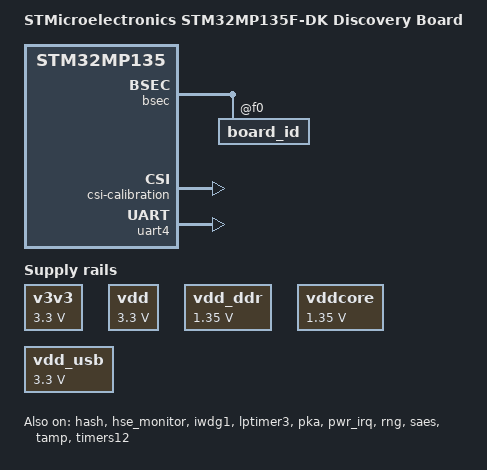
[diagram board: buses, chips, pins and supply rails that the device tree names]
// SPDX-License-Identifier: (GPL-2.0+ OR BSD-3-Clause)
/*
 * Copyright (C) STMicroelectronics 2021-2023 - All Rights Reserved
 * Author: Alexandre Torgue <alexandre.torgue@foss.st.com> for STMicroelectronics.
 */

/dts-v1/;

#include <dt-bindings/clock/stm32mp13-clksrc.h>
#include <dt-bindings/gpio/gpio.h>
#include <dt-bindings/gpio/stm32mp_gpio.h>
#include <dt-bindings/mfd/st,stpmic1.h>
#include <dt-bindings/power/stm32mp1-power.h>
#include <dt-bindings/regulator/st,stm32mp13-regulator.h>
#include <dt-bindings/soc/stm32mp-provisioning.h>
#include <dt-bindings/soc/stm32mp-tzc400-macro.h>
#include <dt-bindings/soc/stm32mp13-tzc400.h>
#include <dt-bindings/tamper/st,stm32mp13-tamp.h>
#include "stm32mp135.dtsi"
#include "stm32mp13xf.dtsi"
#include "myb-stm32mp13-pinctrl.dtsi"

/ {
	model = "STMicroelectronics STM32MP135F-DK Discovery Board";
	compatible = "st,stm32mp135f-dk", "st,stm32mp135";

	cpu0-opp-table {
                opp-1000000000 {
                        opp-hz = /bits/ 64 <1000000000>;
                        opp-microvolt = <1350000>;
                        opp-supported-hw = <0x2>;
                        st,opp-default;
                };
		/delete-node/ opp-650000000;
    };

	aliases {
		serial0 = &uart4;
		// serial1 = &usart1;
	};

	chosen {
		stdout-path = "serial0:115200n8";
	};

	v3v3: v3v3 {
		compatible = "regulator-fixed";
		regulator-name = "v3v3";
		regulator-min-microvolt = <3300000>;
		regulator-max-microvolt = <3300000>;
		regulator-always-on;
	};

	vdd: vdd {
		compatible = "regulator-fixed";
		regulator-name = "vdd";
		regulator-min-microvolt = <3300000>;
		regulator-max-microvolt = <3300000>;
	};

	vdd_ddr: vdd_ddr {
		compatible = "regulator-fixed";
		regulator-name = "vdd_ddr";
		regulator-min-microvolt = <1350000>;
		regulator-max-microvolt = <1350000>;
	};

	vddcore: vddcore {
		compatible = "regulator-fixed";
		regulator-name = "vddcore";
		regulator-min-microvolt = <1350000>;
		regulator-max-microvolt = <1350000>;
	};

	vdd_usb: vdd_usb {
		compatible = "regulator-fixed";
		regulator-name = "vdd_usb";
		regulator-min-microvolt = <3300000>;
		regulator-max-microvolt = <3300000>;
	};

	shadow-prov {
		compatible = "st,provisioning";
		hw2_prov {
			nvmem-cells = <&hw2_otp>;
			st,shadow-value = <0x000001E0>;
			st,shadow-lock = <STICKY_LOCK_SR>;
		};
	};

	typec_wakeup: typec_wakeup {
		compatible = "st,stm32mp1-pwr-irq-user";
		wakeup-parent = <&pwr_irq>;
		st,wakeup-pin-number = <5>;
		st,notif-it-id = <1>;
		status = "okay";
	};

};

&adc_2 {
	status = "disabled";
};

&bsec {
	board_id: board_id@f0 {
		reg = <0xf0 0x4>;
		st,non-secure-otp;
	};
};

&cpu0 {
	cpu-supply = <&vddcore>;
};

&etzpc {
	st,decprot = <
		DECPROT(STM32MP1_ETZPC_ADC1_ID, DECPROT_NS_RW, DECPROT_UNLOCK)
		/*DECPROT(STM32MP1_ETZPC_ADC2_ID, DECPROT_S_RW, DECPROT_UNLOCK)*/
		DECPROT(STM32MP1_ETZPC_ADC2_ID, DECPROT_NS_RW, DECPROT_UNLOCK)
		DECPROT(STM32MP1_ETZPC_BKPSRAM_ID, DECPROT_S_RW, DECPROT_UNLOCK)
		DECPROT(STM32MP1_ETZPC_CRYP_ID, DECPROT_NS_RW, DECPROT_UNLOCK)
		DECPROT(STM32MP1_ETZPC_DCMIPP_ID, DECPROT_NS_RW, DECPROT_UNLOCK)
		DECPROT(STM32MP1_ETZPC_DDRCTRLPHY_ID, DECPROT_NS_R_S_W, DECPROT_UNLOCK)
		DECPROT(STM32MP1_ETZPC_ETH1_ID, DECPROT_NS_RW, DECPROT_UNLOCK)
		DECPROT(STM32MP1_ETZPC_ETH2_ID, DECPROT_NS_RW, DECPROT_UNLOCK)
		DECPROT(STM32MP1_ETZPC_FMC_ID, DECPROT_NS_RW, DECPROT_UNLOCK)
		DECPROT(STM32MP1_ETZPC_HASH_ID, DECPROT_S_RW, DECPROT_UNLOCK)
		DECPROT(STM32MP1_ETZPC_I2C3_ID, DECPROT_NS_RW, DECPROT_UNLOCK)
		/*DECPROT(STM32MP1_ETZPC_I2C4_ID, DECPROT_S_RW, DECPROT_UNLOCK)*/
		DECPROT(STM32MP1_ETZPC_I2C4_ID, DECPROT_NS_RW, DECPROT_UNLOCK)
		DECPROT(STM32MP1_ETZPC_I2C5_ID, DECPROT_NS_RW, DECPROT_UNLOCK)
		DECPROT(STM32MP1_ETZPC_IWDG1_ID, DECPROT_S_RW, DECPROT_UNLOCK)
		DECPROT(STM32MP1_ETZPC_LPTIM2_ID, DECPROT_NS_RW, DECPROT_UNLOCK)
		DECPROT(STM32MP1_ETZPC_LPTIM3_ID, DECPROT_S_RW, DECPROT_UNLOCK)
		/*DECPROT(STM32MP1_ETZPC_LTDC_ID, DECPROT_S_RW, DECPROT_UNLOCK)*/
		DECPROT(STM32MP1_ETZPC_LTDC_ID, DECPROT_NS_RW, DECPROT_UNLOCK)
		DECPROT(STM32MP1_ETZPC_MCE_ID, DECPROT_S_RW, DECPROT_UNLOCK)
		DECPROT(STM32MP1_ETZPC_OTG_ID, DECPROT_NS_RW, DECPROT_UNLOCK)
		DECPROT(STM32MP1_ETZPC_PKA_ID, DECPROT_S_RW, DECPROT_UNLOCK)
		DECPROT(STM32MP1_ETZPC_QSPI_ID, DECPROT_NS_RW, DECPROT_UNLOCK)
		DECPROT(STM32MP1_ETZPC_RNG_ID, DECPROT_S_RW, DECPROT_UNLOCK)
		DECPROT(STM32MP1_ETZPC_SAES_ID, DECPROT_S_RW, DECPROT_UNLOCK)
		DECPROT(STM32MP1_ETZPC_SDMMC1_ID, DECPROT_NS_RW, DECPROT_UNLOCK)
		DECPROT(STM32MP1_ETZPC_SDMMC2_ID, DECPROT_NS_RW, DECPROT_UNLOCK)
		DECPROT(STM32MP1_ETZPC_SPI4_ID, DECPROT_NS_RW, DECPROT_UNLOCK)
		DECPROT(STM32MP1_ETZPC_SPI5_ID, DECPROT_NS_RW, DECPROT_UNLOCK)
		DECPROT(STM32MP1_ETZPC_SRAM1_ID, DECPROT_NS_RW, DECPROT_UNLOCK)
		DECPROT(STM32MP1_ETZPC_SRAM2_ID, DECPROT_NS_RW, DECPROT_UNLOCK)
		DECPROT(STM32MP1_ETZPC_SRAM3_ID, DECPROT_S_RW, DECPROT_UNLOCK)
		DECPROT(STM32MP1_ETZPC_STGENC_ID, DECPROT_S_RW, DECPROT_UNLOCK)
		DECPROT(STM32MP1_ETZPC_TIM12_ID, DECPROT_S_RW, DECPROT_UNLOCK)
		DECPROT(STM32MP1_ETZPC_TIM13_ID, DECPROT_NS_RW, DECPROT_UNLOCK)
		DECPROT(STM32MP1_ETZPC_TIM14_ID, DECPROT_NS_RW, DECPROT_UNLOCK)
		DECPROT(STM32MP1_ETZPC_TIM15_ID, DECPROT_S_RW, DECPROT_UNLOCK)
		DECPROT(STM32MP1_ETZPC_TIM16_ID, DECPROT_NS_RW, DECPROT_UNLOCK)
		DECPROT(STM32MP1_ETZPC_TIM17_ID, DECPROT_NS_RW, DECPROT_UNLOCK)
		DECPROT(STM32MP1_ETZPC_USART1_ID, DECPROT_NS_RW, DECPROT_UNLOCK)
		DECPROT(STM32MP1_ETZPC_USART2_ID, DECPROT_NS_RW, DECPROT_UNLOCK)
		DECPROT(STM32MP1_ETZPC_USBPHYCTRL_ID, DECPROT_NS_RW, DECPROT_UNLOCK)
		DECPROT(STM32MP1_ETZPC_VREFBUF_ID, DECPROT_NS_RW, DECPROT_UNLOCK)
	>;
};

/*
&gpioa {
	st,protreg = < (TZPROT(6)) >;
};

&gpiob {
	st,protreg = < (TZPROT(9)) >;
};

&gpiod {
	st,protreg = < (TZPROT(7)) >;
};

&gpioe {
	st,protreg = < (TZPROT(15)) >;
};

&gpiof {
	st,protreg = < (TZPROT(8)) >;
};
*/

&gpioi {
	st,protreg = < (TZPROT(3)) >;
};

&hash {
	status = "okay";
};

&hse_monitor {
	status = "okay";
};

&i2c4 {
	pinctrl-names = "default";
	// pinctrl-0 = <&i2c4_pins_a>;
	i2c-scl-rising-time-ns = <185>;
	i2c-scl-falling-time-ns = <20>;
	clock-frequency = <400000>;
	status = "disabled";
};

&iwdg1 {
	timeout-sec = <32>;
	status = "okay";
};

&ltdc {
	pinctrl-0 = <&ltdc_pins_a>;
	access-controllers-conf-nsec =
		<&etzpc DECPROT(STM32MP1_ETZPC_LTDC_ID, DECPROT_NS_RW, DECPROT_UNLOCK)>,
		<&gpioa (GPIO_STM32_NSEC | TZPROT(15))>,
		<&gpiob (GPIO_STM32_NSEC | TZPROT(6) | TZPROT(12))>,
		<&gpioc (GPIO_STM32_NSEC | TZPROT(6) | TZPROT(7))>,
		<&gpiod (GPIO_STM32_NSEC | TZPROT(5) | TZPROT(9) | TZPROT(10) | TZPROT(14))>,
		<&gpioe (GPIO_STM32_NSEC | TZPROT(0) | TZPROT(7) | TZPROT(9) | TZPROT(13))>,
		<&gpiof (GPIO_STM32_NSEC | TZPROT(1) | TZPROT(2) | TZPROT(3))>,
		<&gpiog (GPIO_STM32_NSEC | TZPROT(0) | TZPROT(4) | TZPROT(7))>,
		<&gpioh (GPIO_STM32_NSEC | TZPROT(9) | TZPROT(13) | TZPROT(14))>;
	access-controllers-conf-sec =
		<&etzpc DECPROT(STM32MP1_ETZPC_LTDC_ID, DECPROT_NS_R_S_W, DECPROT_UNLOCK)>,
		<&gpioa (TZPROT(15))>,
		<&gpiob (TZPROT(6) | TZPROT(12))>,
		<&gpioc (TZPROT(6) | TZPROT(7))>,
		<&gpiod (TZPROT(5) | TZPROT(9) | TZPROT(10) | TZPROT(14))>,
		<&gpioe (TZPROT(0) | TZPROT(7) | TZPROT(9) | TZPROT(13))>,
		<&gpiof (TZPROT(1) | TZPROT(2) | TZPROT(3))>,
		<&gpiog (TZPROT(0) | TZPROT(4) | TZPROT(7))>,
		<&gpioh (TZPROT(9) | TZPROT(13) | TZPROT(14))>;
	status = "disabled";
};

&lptimer3 {
	status = "okay";

	counter {
		status = "okay";
	};
};

&oem_enc_key {
	st,non-secure-otp-provisioning;
};

&osc_calibration {
	csi-calibration {
		status = "okay";
	};

	hsi-calibration {
		status = "okay";
	};
};

&pka {
	status = "okay";
};

&pwr_irq {
	status = "okay";
	wakeup-gpios = <&gpiof 8 GPIO_ACTIVE_HIGH>, <&gpioi 3 GPIO_ACTIVE_HIGH>, <0>, <0>, <&gpioi 2 GPIO_PULL_UP>, <0>;
};

&pwr_regulators {
	system_suspend_supported_soc_modes = <
		STM32_PM_CSLEEP_RUN
		STM32_PM_CSTOP_ALLOW_LP_STOP
		STM32_PM_CSTOP_ALLOW_LPLV_STOP
		STM32_PM_CSTOP_ALLOW_LPLV_STOP2
		STM32_PM_CSTOP_ALLOW_STANDBY_DDR_SR
	>;

	system_off_soc_mode = <STM32_PM_SHUTDOWN>;
	vdd-supply = <&vdd>;
	vdd_3v3_usbfs-supply = <&vdd_usb>;
};

&rcc {
	st,clksrc = <
		CLK_MPU_PLL1P
		CLK_AXI_PLL2P
		CLK_MLAHBS_PLL3
		CLK_RTC_LSE
		CLK_MCO1_DISABLED
		CLK_MCO2_DISABLED
		CLK_CKPER_HSE
		CLK_ETH1_PLL4P
		CLK_ETH2_PLL4P
		CLK_SDMMC1_PLL4P
		CLK_SDMMC2_PLL4P
		CLK_STGEN_HSE
		CLK_USBPHY_HSE
		CLK_I2C3_HSI
		CLK_I2C4_HSI
		CLK_I2C5_HSI
		CLK_USBO_USBPHY
		CLK_ADC2_CKPER
		CLK_I2C12_HSI
		CLK_UART1_HSI
		CLK_UART2_HSI
		CLK_UART35_HSI
		CLK_UART4_HSI
		CLK_UART6_HSI
		CLK_UART78_HSI
		CLK_FDCAN_PLL4R
		CLK_SAES_AXI
		CLK_DCMIPP_PLL2Q
		CLK_LPTIM3_PCLK3
		CLK_RNG1_PLL4R
		CLK_QSPI_ACLK
	>;

	st,clkdiv = <
		DIV(DIV_MPU, 1)
		DIV(DIV_AXI, 0)
		DIV(DIV_MLAHB, 0)
		DIV(DIV_APB1, 1)
		DIV(DIV_APB2, 1)
		DIV(DIV_APB3, 1)
		DIV(DIV_APB4, 1)
		DIV(DIV_APB5, 2)
		DIV(DIV_APB6, 1)
		DIV(DIV_RTC, 0)
		DIV(DIV_MCO1, 0)
		DIV(DIV_MCO2, 0)
	>;

	st,pll_vco {
		pll1_vco_2000Mhz: pll1-vco-2000Mhz {
			src = <CLK_PLL12_HSE>;
			divmn = <1 82>;
			frac = <0xAAA>;
		};

		pll1_vco_1800Mhz: pll1-vco-1800Mhz {
			src = <CLK_PLL12_HSE>;
			divmn = <1 74>;
			frac = <0>;
		};

		pll1_vco_1300Mhz: pll1-vco-1300Mhz {
			src = <CLK_PLL12_HSE>;
			divmn = <2 80>;
			frac = <0x800>;
		};

		pll2_vco_1066Mhz: pll2-vco-1066Mhz {
			src = <CLK_PLL12_HSE>;
			divmn = <2 65>;
			frac = <0x1400>;
		};

		pll3_vco_417Mhz: pll3-vco-417Mhz {
			src = <CLK_PLL3_HSE>;
			divmn = <1 33>;
			frac = <0x1a04>;
		};

		pll4_vco_600Mhz: pll4-vco-600Mhz {
			src = <CLK_PLL4_HSE>;
			divmn = <1 49>;
		};
	};

	pll1: st,pll@0 {
		compatible = "st,stm32mp1-pll";
		reg = <0>;

		st,pll = <&pll1_cfg1>;

		/* VCO = 1300.0 MHz => P = 650 (CPU) */
		pll1_cfg1: pll1_cfg1 {
			st,pll_vco = <&pll1_vco_1300Mhz>;
			st,pll_div_pqr = <0 1 1>;
		};

		/* VCO = 2000.0 MHz => P = 1000 (CPU) */
		pll1_cfg2: pll1_cfg2 {
			st,pll_vco = <&pll1_vco_2000Mhz>;
			st,pll_div_pqr = <0 1 1>;
		};

		/* VCO = 1800.0 MHz => P = 900 (CPU) */
		pll1_cfg3: pll1_cfg3 {
			st,pll_vco = <&pll1_vco_1800Mhz>;
			st,pll_div_pqr = <0 1 1>;
		};
	};

	/* VCO = 1066.0 MHz => P = 266 (AXI), Q = 266, R = 533 (DDR) */
	pll2: st,pll@1 {
		compatible = "st,stm32mp1-pll";
		reg = <1>;

		st,pll = <&pll2_cfg1>;

		pll2_cfg1: pll2_cfg1 {
			st,pll_vco = <&pll2_vco_1066Mhz>;
			st,pll_div_pqr = <1 1 0>;
		};
	};

	/* VCO = 417.8 MHz => P = 209, Q = 24, R = 11 */
	pll3: st,pll@2 {
		compatible = "st,stm32mp1-pll";
		reg = <2>;

		st,pll = <&pll3_cfg1>;

		pll3_cfg1: pll3_cfg1 {
			st,pll_vco = <&pll3_vco_417Mhz>;
			st,pll_div_pqr = <1 16 36>;
		};
	};

	/* VCO = 600.0 MHz => P = 50, Q = 10, R = 50 */
	pll4: st,pll@3 {
		compatible = "st,stm32mp1-pll";
		reg = <3>;
		st,pll = <&pll4_cfg1>;

		pll4_cfg1: pll4_cfg1 {
			st,pll_vco = <&pll4_vco_600Mhz>;
			st,pll_div_pqr = <11 59 11>;
		};
	};

	st,clk_opp {
		/* CK_MPU clock config for MP13 */
		st,ck_mpu {
			cfg_1 {
				hz = <650000000>;
				st,clksrc = <CLK_MPU_PLL1P>;
				st,pll = <&pll1_cfg1>;
			};

			cfg_2 {
				hz = <1000000000>;
				st,clksrc = <CLK_MPU_PLL1P>;
				st,pll = <&pll1_cfg2>;
			};

			cfg_3 {
				hz = <900000000>;
				st,clksrc = <CLK_MPU_PLL1P>;
				st,pll = <&pll1_cfg3>;
			};
		};
	};

	st,rcc {
		compatible = "st,rcc";
		pinctrl-0 = <&rcc_mco_pins_a>;
	};
};

&rng {
	status = "okay";
	clock-error-detect;
};

&saes {
	status = "okay";
};


&sdmmc1_io {
	vddsd1-supply = <&vdd>;
};

&sdmmc2_io {
	vddsd2-supply = <&vdd>;
};

&tamp {
	status = "okay";
	// st,tamp-passive-nb-sample = <4>;
	// st,tamp-passive-sample-clk-div = <16384>;
	// wakeup-source;
	// wakeup-parent = <&exti>;

	// /* Tamper button */
	// tamp-button {
	// 	tamper-gpios = <&gpioa 6 0>;
	// 	st,tamp-mode = <TAMPER_CONFIRMED_MODE>;
	// 	st,tamp-id = <2>;
	// 	status = "okay";
	// };

	// /* Connect pin8 and pin22 from CN8 */
	// tamp-active {
	// 	tamper-gpios = <&gpioc 0 0>, <&gpioi 0 0>;
	// 	st,tamp-mode = <TAMPER_CONFIRMED_MODE>;
	// 	st,tamp-id = <3>, <1>;
	// 	status = "disabled";
	// };
};

&timers12 {
	status = "okay";

	counter {
		status = "okay";
	};
};

&tzc400 {
	memory-region = <&optee_framebuffer>;
};

&uart4 {
	pinctrl-names = "default";
	pinctrl-0 = <&uart4_pins_a>;
	status = "okay";
};

&usart1 {
	pinctrl-names = "default";
	status = "disabled";
};
